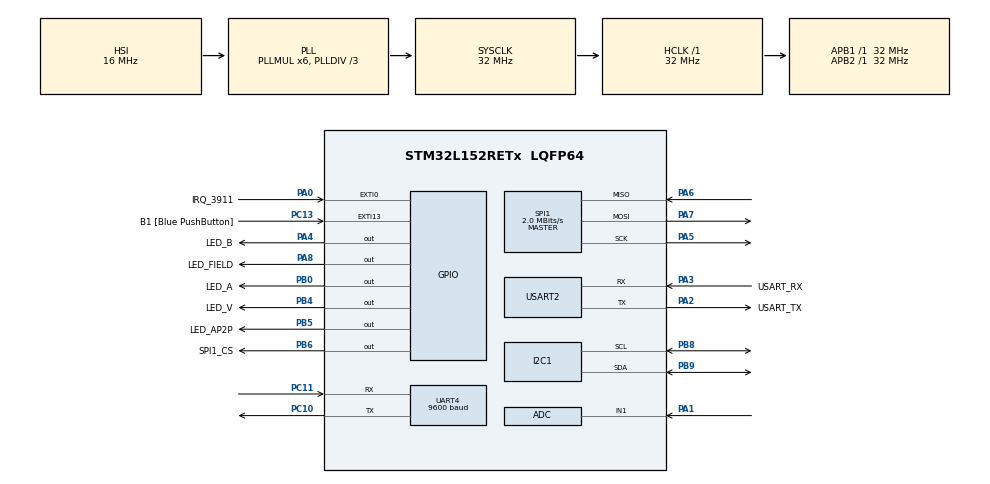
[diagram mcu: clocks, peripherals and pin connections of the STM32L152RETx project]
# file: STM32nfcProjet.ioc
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ADC.Channel-0\#ChannelRegularConversion=ADC_CHANNEL_1
ADC.Channel-1\#ChannelRegularConversion=ADC_CHANNEL_TEMPSENSOR
ADC.DMAContinuousRequests=ENABLE
ADC.ExternalTrigConv=ADC_EXTERNALTRIGCONV_T2_TRGO
ADC.NbrOfConversion=2
ADC.NbrOfConversionFlag=1
ADC.Rank-0\#ChannelRegularConversion=1
ADC.Rank-1\#ChannelRegularConversion=2
ADC.SamplingTime-0\#ChannelRegularConversion=ADC_SAMPLETIME_384CYCLES
ADC.SamplingTime-1\#ChannelRegularConversion=ADC_SAMPLETIME_384CYCLES
ADC.ScanConvMode=ADC_SCAN_ENABLE
Dma.ADC.0.Direction=DMA_PERIPH_TO_MEMORY
Dma.ADC.0.Instance=DMA1_Channel1
Dma.ADC.0.MemDataAlignment=DMA_MDATAALIGN_HALFWORD
Dma.ADC.0.MemInc=DMA_MINC_ENABLE
Dma.ADC.0.Mode=DMA_CIRCULAR
Dma.ADC.0.PeriphDataAlignment=DMA_PDATAALIGN_HALFWORD
Dma.ADC.0.PeriphInc=DMA_PINC_DISABLE
Dma.ADC.0.Priority=DMA_PRIORITY_LOW
Dma.Request0=ADC
Mcu.Family=STM32L1
Mcu.Name=STM32L152RETx
Mcu.Package=LQFP64
NVIC.DMA1_Channel1_IRQn=true\:0\:0\:false\:false\:true\:false\:true\:true
NVIC.EXTI0_IRQn=true\:0\:0\:false\:false\:true\:true\:true\:true
NVIC.I2C1_ER_IRQn=true\:0\:0\:false\:false\:true\:true\:true\:true
NVIC.I2C1_EV_IRQn=true\:0\:0\:false\:false\:true\:true\:true\:true
NVIC.PriorityGroup=NVIC_PRIORITYGROUP_0
PA0-WKUP1.GPIO_Label=IRQ_3911
PA0-WKUP1.Signal=GPXTI0
PA1.Mode=IN1
PA1.Signal=ADC_IN1
PA13.GPIO_Label=TMS
PA13.Mode=Serial_Wire
PA13.Signal=SYS_JTMS-SWDIO
PA14.GPIO_Label=TCK
PA14.Mode=Serial_Wire
PA14.Signal=SYS_JTCK-SWCLK
PA2.GPIO_Label=USART_TX
PA2.Mode=Asynchronous
PA2.Signal=USART2_TX
PA3.GPIO_Label=USART_RX
PA3.Mode=Asynchronous
PA3.Signal=USART2_RX
PA4.GPIO_Label=LED_B
PA4.Signal=GPIO_Output
PA5.Mode=Full_Duplex_Master
PA5.Signal=SPI1_SCK
PA6.Mode=Full_Duplex_Master
PA6.Signal=SPI1_MISO
PA7.Mode=Full_Duplex_Master
PA7.Signal=SPI1_MOSI
PA8.GPIO_Label=LED_FIELD
PA8.Signal=GPIO_Output
PB0.GPIO_Label=LED_A
PB0.Signal=GPIO_Output
PB3.GPIO_Label=SWO
PB3.Signal=SYS_JTDO-TRACESWO
PB4.GPIO_Label=LED_V
PB4.Signal=GPIO_Output
PB5.GPIO_Label=LED_AP2P
PB5.Signal=GPIO_Output
PB6.GPIO_Label=SPI1_CS
PB6.Signal=GPIO_Output
PB8.Mode=I2C
PB8.Signal=I2C1_SCL
PB9.Mode=I2C
PB9.Signal=I2C1_SDA
PC10.Mode=Asynchronous
PC10.Signal=UART4_TX
PC11.Mode=Asynchronous
PC11.Signal=UART4_RX
PC13-WKUP2.GPIO_Label=B1 [Blue PushButton]
PC13-WKUP2.GPIO_ModeDefaultEXTI=GPIO_MODE_EVT_RISING
PC13-WKUP2.Signal=GPXTI13
PC14-OSC32_IN.Mode=LSE-External-Clock-Source
PC14-OSC32_IN.Signal=RCC_OSC32_IN
PC15-OSC32_OUT.Signal=RCC_OSC32_OUT
PH0-OSC_IN.Mode=HSE-External-Clock-Source
PH0-OSC_IN.Signal=RCC_OSC_IN
PH1-OSC_OUT.Signal=RCC_OSC_OUT
ProjectManager.HeapSize=0x200
ProjectManager.StackSize=0x400
ProjectManager.TargetToolchain=STM32CubeIDE
RCC.48MHZClocksFreq_Value=48000000
RCC.AHBFreq_Value=32000000
RCC.APB1Freq_Value=32000000
RCC.APB1TimFreq_Value=32000000
RCC.APB2Freq_Value=32000000
RCC.APB2TimFreq_Value=32000000
RCC.DATA_CACHE_ENABLE=0
RCC.HCLKFreq_Value=32000000
RCC.HSE_VALUE=8000000
RCC.HSI_VALUE=16000000
RCC.LSE_VALUE=32768
RCC.MSI_VALUE=2097000
RCC.PLLDIV=RCC_PLL_DIV3
RCC.PLLMUL=RCC_PLL_MUL6
RCC.PREFETCH_ENABLE=0
RCC.RTCClockSelectionVirtual=RCC_RTCCLKSOURCE_LSE
RCC.SYSCLKFreq_VALUE=32000000
RCC.SYSCLKSource=RCC_SYSCLKSOURCE_PLLCLK
RCC.USBOutput=48000000
RCC.VCOOutputFreq_Value=96000000
SPI1.BaudRatePrescaler=SPI_BAUDRATEPRESCALER_16
SPI1.CLKPhase=SPI_PHASE_2EDGE
SPI1.CalculateBaudRate=2.0 MBits/s
SPI1.Direction=SPI_DIRECTION_2LINES
SPI1.Mode=SPI_MODE_MASTER
SPI1.VirtualType=VM_MASTER
TIM2.Period=100
TIM2.Prescaler=32000
TIM2.TIM_MasterOutputTrigger=TIM_TRGO_UPDATE
UART4.BaudRate=9600
UART4.VirtualMode=Asynchronous
USART2.VirtualMode=VM_ASYNC
VP_ADC_TempSens_Input.Mode=IN-TempSens
VP_TIM2_VS_ClockSourceINT.Mode=Internal
board=NUCLEO-L152RE

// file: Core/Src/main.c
/* USER CODE BEGIN Header */
/**
  ******************************************************************************
  * @file           : main.c
  * @brief          : Main program body
  ******************************************************************************
  * @attention
  *
  * <h2><center>&copy; Copyright (c) 2022 STMicroelectronics.
  * All rights reserved.</center></h2>
  *
  * This software component is licensed by ST under BSD 3-Clause license,
  * the "License"; You may not use this file except in compliance with the
  * License. You may obtain a copy of the License at:
  *                        opensource.org/licenses/BSD-3-Clause
  *
  ******************************************************************************
  */
/* USER CODE END Header */
#include "main.h"
#include "adc.h"
#include "dma.h"
#include "i2c.h"
#include "spi.h"
#include "tim.h"
#include "usart.h"
#include "gpio.h"

/* USER CODE BEGIN Includes */
#include <stdio.h>
#include "demo.h"
#include "platform.h"
#include "spi.h"
#include "usart.h"
#include "logger.h"
#include "st_errno.h"
#include "rfal_nfc.h"
#include "i2c-lcd.h"

/* USER CODE END Includes */

/* USER CODE BEGIN PV */
uint8_t globalCommProtectCnt = 0;
char strLcdLine1 [] = "Init";
char strLcdLine2 [] = "lcd";
uint32_t ADC_Value[2];
/* USER CODE END PV */

void SystemClock_Config(void);

int main(void)
{

  /* MCU Configuration--------------------------------------------------------*/

  /* Reset of all peripherals, Initializes the Flash interface and the Systick. */
  HAL_Init();

  /* Configure the system clock */
  SystemClock_Config();

  /* Initialize all configured peripherals */
  MX_GPIO_Init();
  MX_DMA_Init();
  MX_USART2_UART_Init();
  MX_SPI1_Init();
  MX_UART4_Init();
  MX_I2C1_Init();
  MX_ADC_Init();
  MX_TIM2_Init();
  /* USER CODE BEGIN 2 */
  HAL_TIM_Base_Start(&htim2);
  HAL_ADC_Start_DMA(&hadc,ADC_Value, 2);
  /* Initialize driver*/
  spiInit(&hspi1);

  /* Initialize LCD*/
  lcd_init ();
  lcd_put_cur(0, 0);
  lcd_send_string(strLcdLine1);
  lcd_put_cur(1, 0);
  lcd_send_string(strLcdLine2);

  /* Initialize log module */
  logUsartInit(&huart2);

  platformLog("Welcome to the NFC enabler application\r\n");

  if( !demoIni() )
    {
      /*
      * in case the rfal initalization failed signal it by flashing all LED
      * and stoping all operations
      */
      platformLog("Initialization failed..\r\n");
      while(1)
      {
        platformLedToogle(PLATFORM_LED_FIELD_PORT, PLATFORM_LED_FIELD_PIN);
        platformLedToogle(PLATFORM_LED_A_PORT, PLATFORM_LED_A_PIN);
        platformLedToogle(PLATFORM_LED_B_PORT, PLATFORM_LED_B_PIN);
        //platformLedToogle(PLATFORM_LED_F_PORT, PLATFORM_LED_F_PIN);
        platformLedToogle(PLATFORM_LED_V_PORT, PLATFORM_LED_V_PIN);
        platformLedToogle(PLATFORM_LED_AP2P_PORT, PLATFORM_LED_AP2P_PIN);
        platformDelay(100);
      }
    }
    else
    {
      platformLog("Initialization succeeded..\r\n");
      for (int i = 0; i < 6; i++)
      {
        platformLedToogle(PLATFORM_LED_FIELD_PORT, PLATFORM_LED_FIELD_PIN);
        platformLedToogle(PLATFORM_LED_A_PORT, PLATFORM_LED_A_PIN);
        platformLedToogle(PLATFORM_LED_B_PORT, PLATFORM_LED_B_PIN);
        //platformLedToogle(PLATFORM_LED_F_PORT, PLATFORM_LED_F_PIN);
        platformLedToogle(PLATFORM_LED_V_PORT, PLATFORM_LED_V_PIN);
        platformLedToogle(PLATFORM_LED_AP2P_PORT, PLATFORM_LED_AP2P_PIN);
        platformDelay(200);
      }

      platformLedOff(PLATFORM_LED_A_PORT, PLATFORM_LED_A_PIN);
      platformLedOff(PLATFORM_LED_B_PORT, PLATFORM_LED_B_PIN);
      //platformLedOff(PLATFORM_LED_F_PORT, PLATFORM_LED_F_PIN);
      platformLedOff(PLATFORM_LED_V_PORT, PLATFORM_LED_V_PIN);
      platformLedOff(PLATFORM_LED_AP2P_PORT, PLATFORM_LED_AP2P_PIN);
      platformLedOff(PLATFORM_LED_FIELD_PORT, PLATFORM_LED_FIELD_PIN);
    }

  /* USER CODE END 2 */

  /* Infinite loop */
  while (1)
  {

    /* USER CODE BEGIN 3 */

	 /* Run Demo Application */
	 demoCycle();

	 printf("Temperature : %d\n\r", SYS_GetMCUTemperature());
	 printf("Voltage : %.3f\n\r", ADC_GetTrimmerVoltage());

	 //HAL_Delay(2000);
  }
  /* USER CODE END 3 */
}

void SystemClock_Config(void)
{
  RCC_OscInitTypeDef RCC_OscInitStruct = {0};
  RCC_ClkInitTypeDef RCC_ClkInitStruct = {0};

  /** Configure the main internal regulator output voltage
  */
  __HAL_PWR_VOLTAGESCALING_CONFIG(PWR_REGULATOR_VOLTAGE_SCALE1);
  /** Initializes the RCC Oscillators according to the specified parameters
  * in the RCC_OscInitTypeDef structure.
  */
  RCC_OscInitStruct.OscillatorType = RCC_OSCILLATORTYPE_HSI;
  RCC_OscInitStruct.HSIState = RCC_HSI_ON;
  RCC_OscInitStruct.HSICalibrationValue = RCC_HSICALIBRATION_DEFAULT;
  RCC_OscInitStruct.PLL.PLLState = RCC_PLL_ON;
  RCC_OscInitStruct.PLL.PLLSource = RCC_PLLSOURCE_HSI;
  RCC_OscInitStruct.PLL.PLLMUL = RCC_PLL_MUL6;
  RCC_OscInitStruct.PLL.PLLDIV = RCC_PLL_DIV3;
  if (HAL_RCC_OscConfig(&RCC_OscInitStruct) != HAL_OK)
  {
    Error_Handler();
  }
  /** Initializes the CPU, AHB and APB buses clocks
  */
  RCC_ClkInitStruct.ClockType = RCC_CLOCKTYPE_HCLK|RCC_CLOCKTYPE_SYSCLK
                              |RCC_CLOCKTYPE_PCLK1|RCC_CLOCKTYPE_PCLK2;
  RCC_ClkInitStruct.SYSCLKSource = RCC_SYSCLKSOURCE_PLLCLK;
  RCC_ClkInitStruct.AHBCLKDivider = RCC_SYSCLK_DIV1;
  RCC_ClkInitStruct.APB1CLKDivider = RCC_HCLK_DIV1;
  RCC_ClkInitStruct.APB2CLKDivider = RCC_HCLK_DIV1;

  if (HAL_RCC_ClockConfig(&RCC_ClkInitStruct, FLASH_LATENCY_1) != HAL_OK)
  {
    Error_Handler();
  }
}

/* USER CODE BEGIN 4 */
int __io_putchar(int ch) {
    HAL_UART_Transmit(&huart2, (uint8_t *)&ch, 1, 0xFFFF);
    return ch;
}

void ringbell(void) {
	uint8_t Track2 = 0x11;
	uint8_t volume = 0x1E;
	uint8_t play2[6] = {0xAA,0x07,0x02,0x00,Track2,Track2+0xB3};
	uint8_t soundlvl[5] = {0xAA,0x13,0x01,volume,volume+0xBE};
	HAL_UART_Transmit(&huart4, play2, 6, 500);
	HAL_UART_Transmit(&huart4, soundlvl, 5, 500);
	HAL_Delay(1000);
}
/* USER CODE END 4 */

void Error_Handler(void)
{
  __disable_irq();
  while (1)
  {
  }
}

/************************ (C) COPYRIGHT STMicroelectronics *****END OF FILE****/
